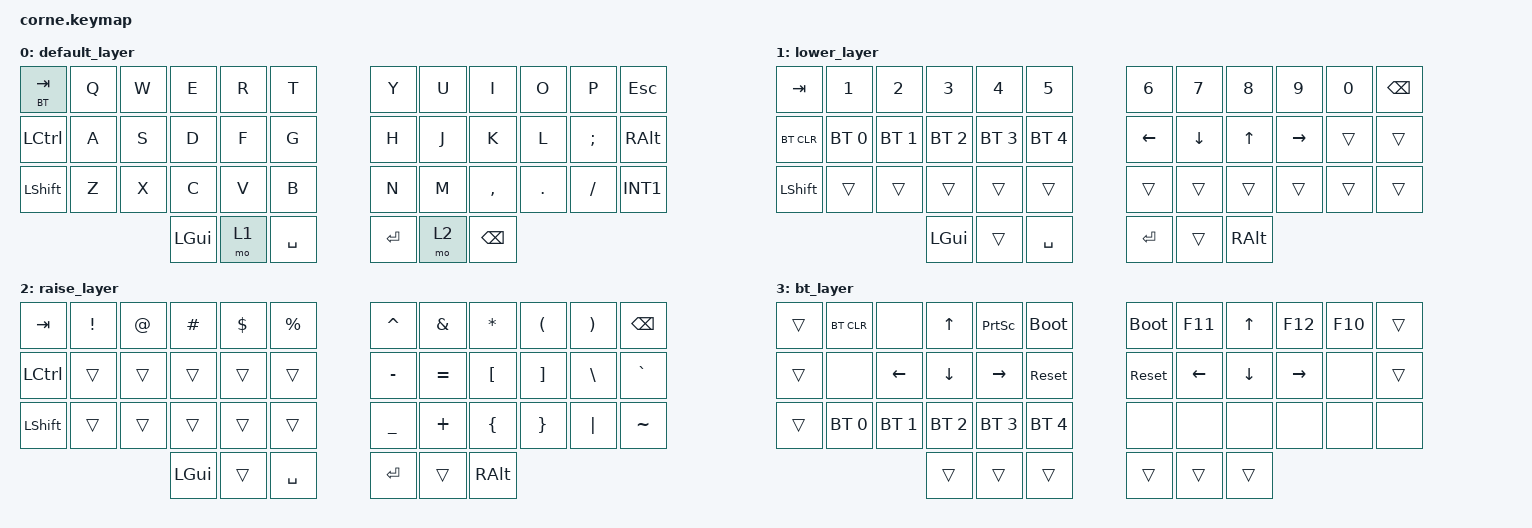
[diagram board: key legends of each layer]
#include <behaviors.dtsi>
#include <dt-bindings/zmk/keys.h>
#include <dt-bindings/zmk/bt.h>
#include <dt-bindings/zmk/outputs.h>
#include <dt-bindings/zmk/rgb.h>

#define DEFAULT_LAYER 0
#define NUMBERS 1
#define SPECIAL 2
#define BT 3

#define NEW_LBKT 0x30
#define NEW_RBKT 0x31
#define NEW_TILDE APOS
#define NEW_GRAVE LBKT
#define BSLH_QST INT1
#define COLON_SEMI SLASH
#define CEDILHA SEMI

#define SOUND_DOWN F11
#define SOUND_UP F12
#define MUTE F10

/ {
        keymap {
                compatible = "zmk,keymap";

                default_layer {
// -----------------------------------------------------------------------------------------
// |  TAB |  Q  |  W  |  E  |  R  |  T  |   |  Y  |  U   |  I  |  O  |  P  | ALT |
// | CTRL |  A  |  S  |  D  |  F  |  G  |   |  H  |  J   |  K  |  L  |  ç  |  '   |
// | SHFT |  Z  |  X  |  C  |  V  |  B  |   |  N  |  M   |  ,  |  .  |  /  | ESC  |
//                    | GUI | LWR | SPC |   | ENT | RSE  | BKSP |
                        bindings = <
   &lt BT TAB &kp Q &kp W &kp E &kp R &kp T   &kp Y &kp U  &kp I     &kp O   &kp P           &kp ESC
   &kp LCTRL  &kp A &kp S &kp D &kp F &kp G   &kp H &kp J  &kp K     &kp L   &kp CEDILHA     &kp RALT
   &kp LSHFT  &kp Z &kp X &kp C &kp V &kp B   &kp N &kp M  &kp COMMA &kp DOT &kp COLON_SEMI  &kp BSLH_QST
                   &kp LGUI &mo 1 &kp SPACE   &kp RET &mo 2 &kp BSPC
                        >;
                };
                lower_layer {
// -----------------------------------------------------------------------------------------
// |  TAB |  1  |  2  |  3  |  4  |  5  |   |  6  |  7  |  8  |  9  |  0  | BKSP |
// | BTCLR| BT1 | BT2 | BT3 | BT4 | BT5 |   | LFT | DWN |  UP | RGT |     |      |
// | SHFT |     |     |     |     |     |   |     |     |     |     |     |      |
//                    | GUI |     | SPC |   | ENT |     | ALT |
                        bindings = <
   &kp TAB    &kp N1       &kp N2       &kp N3       &kp N4       &kp N5         &kp N6   &kp N7   &kp N8 &kp N9    &kp N0 &kp BSPC
   &bt BT_CLR &bt BT_SEL 0 &bt BT_SEL 1 &bt BT_SEL 2 &bt BT_SEL 3 &bt BT_SEL 4   &kp LEFT &kp DOWN &kp UP &kp RIGHT &trans &trans
   &kp LSHFT  &trans       &trans       &trans       &trans       &trans         &trans   &trans   &trans &trans    &trans &trans
                                    &kp LGUI     &trans       &kp SPACE      &kp RET  &trans   &kp RALT
                        >;
                };

                raise_layer {
// -----------------------------------------------------------------------------------------
// |  TAB |  !  |  @  |  #  |  $  |  %  |   |  ^  |  &  |  *  |  (  |  )  | BKSP |
// | CTRL |     |     |     |     |     |   |  -  |  =  |  [  |  ]  |  \  |  `   |
// | SHFT |     |     |     |     |     |   |  _  |  +  |  {  |  }  | "|" |  ~   |
//                    | GUI |     | SPC |   | ENT |     | ALT |
                        bindings = <
   &kp  TAB  &kp EXCL &kp AT &kp HASH &kp DLLR &kp PRCNT   &kp CARET &kp AMPS  &kp ASTRK &kp LPAR &kp RPAR &kp BSPC
   &kp LCTRL &trans   &trans &trans   &trans   &trans      &kp MINUS &kp EQUAL &kp LBKT  &kp RBKT &kp BSLH &kp GRAVE
   &kp LSHFT &trans   &trans &trans   &trans   &trans      &kp UNDER &kp PLUS  &kp LBRC  &kp RBRC &kp PIPE &kp TILDE
                             &kp LGUI &trans   &kp SPACE   &kp RET   &trans    &kp RALT
                        >;
                };

// --------------------------------------------------              -------------------------------------------------------
// | trans | BT_CLR |       |   UP  | PRINT | BOOT  |              | BOOT  | SOUND_DOWN |   UP  | SOUND_UP | MUTE | trans |
// | trans |        |  LEFT |  DOWN | RIGHT | RESET |              | RESET |    LEFT    |  DOWN |   RIGHT  |      | trans |
// | trans | BTS_0  | BTS_1 | BTS_2 | BTS_3 | BTS_4 |              |       |            |       |          |      |       |
//                  | trans | trans | trans | trans |              | trans |    trans   | trans |   trans  |
//                  ---------------------------------              -----------------------------------------
        bt_layer {
            bindings = <
    &trans  &bt BT_CLR    &none         &kp UP        &kp PSCRN     &bootloader          &bootloader  &kp SOUND_DOWN  &kp UP    &kp SOUND_UP  &kp MUTE  &trans
    &trans  &none         &kp LEFT      &kp DOWN      &kp RIGHT     &sys_reset           &sys_reset   &kp LEFT        &kp DOWN  &kp RIGHT     &none     &trans
    &trans  &bt BT_SEL 0  &bt BT_SEL 1  &bt BT_SEL 2  &bt BT_SEL 3  &bt BT_SEL 4         &none        &none           &none     &none         &none     &none
                                        &trans        &trans        &trans               &trans       &trans          &trans
            >;
        };

        };
};
